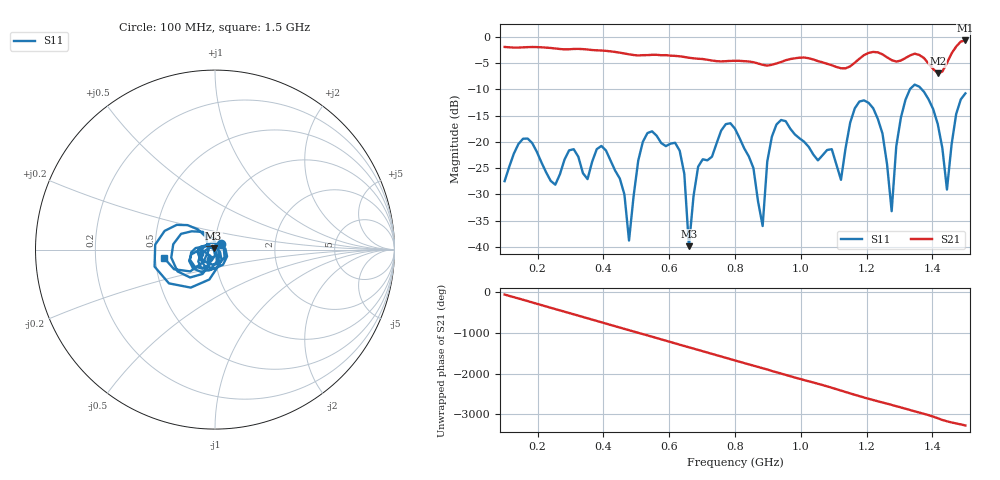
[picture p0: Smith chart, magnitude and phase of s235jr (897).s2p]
! NanoVNA-App
! Date: 2025-09-25 15:11:09
! Start: 100MHz Stop: 1,5GHz Points: 101
! S-Parameter data: F S11 S21 S12 S22
# Hz S RI R 50
!  Frequency  S11_Real  S11_Imag  S21_Real  S21_Imag  S12_Real  S12_Imag  S22_Real  S22_Imag
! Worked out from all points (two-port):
!   101 points, 100 MHz to 1.5 GHz, reference 50 ohm
!   highest |S21| = -0.73 dB at 1.5 GHz (marker M1); lowest = -7.0 dB at 1.416 GHz (marker M2)
!   |S21| within 3 dB of the highest: start of sweep to 630.5 MHz; 1.188 GHz to 1.257 GHz (69.2 MHz wide, 5.66 % of centre) (the widest 2 of 4)
!   lowest |S11| = -39.8 dB at 660 MHz (marker M3), VSWR 1.02, Z = 49.2 + j0.614 ohm
!   |S11| at or under -10 dB: start of sweep to 1.332 GHz; 1.367 GHz to end of sweep
!   S12 and S22 are empty: the file has one direction only
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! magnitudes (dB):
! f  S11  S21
! 100 MHz  -27.5  -2.0
! 156 MHz  -19.4  -2.0
! 338 MHz  -26.0  -2.4
! 408 MHz  -21.6  -2.7
! 478 MHz  -38.7  -3.4
! 520 MHz  -20.0  -3.5
! 576 MHz  -20.2  -3.5
! 632 MHz  -21.7  -3.7
! 660 MHz  -39.8  -4.0
! 688 MHz  -24.7  -4.2
! 800 MHz  -17.5  -4.6
! 884 MHz  -36.0  -5.4
! 926 MHz  -16.7  -5.1
! 1.038 GHz  -22.4  -4.3
! 1.122 GHz  -27.2  -6.0
! 1.206 GHz  -12.6  -3.1
! 1.248 GHz  -18.4  -3.4
! 1.276 GHz  -33.2  -4.5
! 1.332 GHz  -9.9  -3.6
! 1.416 GHz  -16.6  -7.0
! 1.444 GHz  -29.1  -5.0
! 1.5 GHz  -10.8  -0.7
